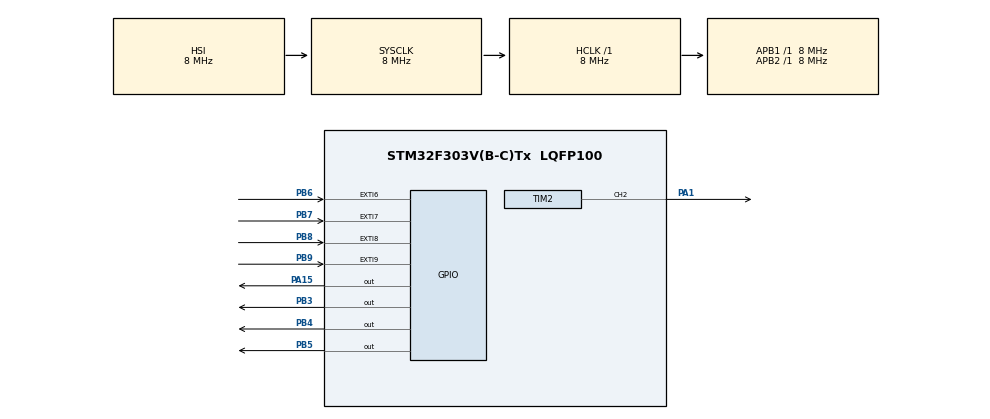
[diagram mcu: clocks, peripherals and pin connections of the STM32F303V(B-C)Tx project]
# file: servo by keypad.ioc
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Mcu.Family=STM32F3
Mcu.Name=STM32F303V(B-C)Tx
Mcu.Package=LQFP100
NVIC.EXTI9_5_IRQn=true\:0\:0\:false\:false\:true\:true\:true\:true
NVIC.PriorityGroup=NVIC_PRIORITYGROUP_4
PA1.Signal=S_TIM2_CH2
PA15.Signal=GPIO_Output
PB3.Signal=GPIO_Output
PB4.Signal=GPIO_Output
PB5.Signal=GPIO_Output
PB6.Signal=GPXTI6
PB7.Signal=GPXTI7
PB8.Signal=GPXTI8
PB9.Signal=GPXTI9
ProjectManager.HeapSize=0x200
ProjectManager.StackSize=0x400
ProjectManager.TargetToolchain=STM32CubeIDE
RCC.AHBFreq_Value=8000000
RCC.APB1Freq_Value=8000000
RCC.APB2Freq_Value=8000000
RCC.CortexFreq_Value=8000000
RCC.HSE_VALUE=8000000
RCC.HSI_VALUE=8000000
RCC.LSE_VALUE=32768
RCC.SYSCLKFreq_VALUE=8000000
SH.S_TIM2_CH2.0=TIM2_CH2,PWM Generation2 CH2
TIM2.Channel-PWM\ Generation2\ CH2=TIM_CHANNEL_2
TIM2.Period=9999
TIM2.Prescaler=15
VP_TIM2_VS_ClockSourceINT.Mode=Internal
board=custom

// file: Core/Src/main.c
/* USER CODE BEGIN Header */
/**
  ******************************************************************************
  * @file           : main.c
  * @brief          : Main program body
  ******************************************************************************
  * @attention
  *
  * Copyright (c) 2024 STMicroelectronics.
  * All rights reserved.
  *
  * This software is licensed under terms that can be found in the LICENSE file
  * in the root directory of this software component.
  * If no LICENSE file comes with this software, it is provided AS-IS.
  *
  ******************************************************************************
  */
/* USER CODE END Header */
#include "main.h"

TIM_HandleTypeDef htim2;

/* USER CODE BEGIN PV */

GPIO_InitTypeDef GPIO_InitStructPrivate = {0};
uint32_t previousMillis = 0;
uint32_t currentMillis = 0;
uint8_t keyPressed = 0;

/* USER CODE END PV */

void SystemClock_Config(void);
static void MX_GPIO_Init(void);
static void MX_TIM2_Init(void);

int main(void)
{

  /* MCU Configuration--------------------------------------------------------*/

  /* Reset of all peripherals, Initializes the Flash interface and the Systick. */
  HAL_Init();

  /* Configure the system clock */
  SystemClock_Config();

  /* Initialize all configured peripherals */
  MX_GPIO_Init();
  MX_TIM2_Init();
  /* USER CODE BEGIN 2 */

   HAL_GPIO_WritePin(GPIOA, GPIO_PIN_15, 1);
   HAL_GPIO_WritePin(GPIOB, GPIO_PIN_3, 1);
   HAL_GPIO_WritePin(GPIOB, GPIO_PIN_4, 1);
   HAL_GPIO_WritePin(GPIOB, GPIO_PIN_5, 1);
   HAL_TIM_PWM_Start(&htim2, TIM_CHANNEL_2);

  /* USER CODE END 2 */

  /* Infinite loop */
  while (1)
  {

  }
}

void SystemClock_Config(void)
{
  RCC_OscInitTypeDef RCC_OscInitStruct = {0};
  RCC_ClkInitTypeDef RCC_ClkInitStruct = {0};

  /** Initializes the RCC Oscillators according to the specified parameters
  * in the RCC_OscInitTypeDef structure.
  */
  RCC_OscInitStruct.OscillatorType = RCC_OSCILLATORTYPE_HSI;
  RCC_OscInitStruct.HSIState = RCC_HSI_ON;
  RCC_OscInitStruct.HSICalibrationValue = RCC_HSICALIBRATION_DEFAULT;
  RCC_OscInitStruct.PLL.PLLState = RCC_PLL_NONE;
  if (HAL_RCC_OscConfig(&RCC_OscInitStruct) != HAL_OK)
  {
    Error_Handler();
  }

  /** Initializes the CPU, AHB and APB buses clocks
  */
  RCC_ClkInitStruct.ClockType = RCC_CLOCKTYPE_HCLK|RCC_CLOCKTYPE_SYSCLK
                              |RCC_CLOCKTYPE_PCLK1|RCC_CLOCKTYPE_PCLK2;
  RCC_ClkInitStruct.SYSCLKSource = RCC_SYSCLKSOURCE_HSI;
  RCC_ClkInitStruct.AHBCLKDivider = RCC_SYSCLK_DIV1;
  RCC_ClkInitStruct.APB1CLKDivider = RCC_HCLK_DIV1;
  RCC_ClkInitStruct.APB2CLKDivider = RCC_HCLK_DIV1;

  if (HAL_RCC_ClockConfig(&RCC_ClkInitStruct, FLASH_LATENCY_0) != HAL_OK)
  {
    Error_Handler();
  }
}

static void MX_TIM2_Init(void)
{

  TIM_ClockConfigTypeDef sClockSourceConfig = {0};
  TIM_MasterConfigTypeDef sMasterConfig = {0};
  TIM_OC_InitTypeDef sConfigOC = {0};

  htim2.Instance = TIM2;
  htim2.Init.Prescaler = 15;
  htim2.Init.CounterMode = TIM_COUNTERMODE_UP;
  htim2.Init.Period = 9999;
  htim2.Init.ClockDivision = TIM_CLOCKDIVISION_DIV1;
  htim2.Init.AutoReloadPreload = TIM_AUTORELOAD_PRELOAD_DISABLE;
  if (HAL_TIM_Base_Init(&htim2) != HAL_OK)
  {
    Error_Handler();
  }
  sClockSourceConfig.ClockSource = TIM_CLOCKSOURCE_INTERNAL;
  if (HAL_TIM_ConfigClockSource(&htim2, &sClockSourceConfig) != HAL_OK)
  {
    Error_Handler();
  }
  if (HAL_TIM_PWM_Init(&htim2) != HAL_OK)
  {
    Error_Handler();
  }
  sMasterConfig.MasterOutputTrigger = TIM_TRGO_RESET;
  sMasterConfig.MasterSlaveMode = TIM_MASTERSLAVEMODE_DISABLE;
  if (HAL_TIMEx_MasterConfigSynchronization(&htim2, &sMasterConfig) != HAL_OK)
  {
    Error_Handler();
  }
  sConfigOC.OCMode = TIM_OCMODE_PWM1;
  sConfigOC.Pulse = 0;
  sConfigOC.OCPolarity = TIM_OCPOLARITY_HIGH;
  sConfigOC.OCFastMode = TIM_OCFAST_DISABLE;
  if (HAL_TIM_PWM_ConfigChannel(&htim2, &sConfigOC, TIM_CHANNEL_2) != HAL_OK)
  {
    Error_Handler();
  }
  HAL_TIM_MspPostInit(&htim2);

}

static void MX_GPIO_Init(void)
{
  GPIO_InitTypeDef GPIO_InitStruct = {0};

  /* GPIO Ports Clock Enable */
  __HAL_RCC_GPIOA_CLK_ENABLE();
  __HAL_RCC_GPIOB_CLK_ENABLE();

  /*Configure GPIO pin Output Level */
  HAL_GPIO_WritePin(GPIOA, GPIO_PIN_15, GPIO_PIN_RESET);

  /*Configure GPIO pin Output Level */
  HAL_GPIO_WritePin(GPIOB, GPIO_PIN_3|GPIO_PIN_4|GPIO_PIN_5, GPIO_PIN_RESET);

  /*Configure GPIO pin : PA15 */
  GPIO_InitStruct.Pin = GPIO_PIN_15;
  GPIO_InitStruct.Mode = GPIO_MODE_OUTPUT_PP;
  GPIO_InitStruct.Pull = GPIO_NOPULL;
  GPIO_InitStruct.Speed = GPIO_SPEED_FREQ_LOW;
  HAL_GPIO_Init(GPIOA, &GPIO_InitStruct);

  /*Configure GPIO pins : PB3 PB4 PB5 */
  GPIO_InitStruct.Pin = GPIO_PIN_3|GPIO_PIN_4|GPIO_PIN_5;
  GPIO_InitStruct.Mode = GPIO_MODE_OUTPUT_PP;
  GPIO_InitStruct.Pull = GPIO_NOPULL;
  GPIO_InitStruct.Speed = GPIO_SPEED_FREQ_LOW;
  HAL_GPIO_Init(GPIOB, &GPIO_InitStruct);

  /*Configure GPIO pins : PB6 PB7 PB8 PB9 */
  GPIO_InitStruct.Pin = GPIO_PIN_6|GPIO_PIN_7|GPIO_PIN_8|GPIO_PIN_9;
  GPIO_InitStruct.Mode = GPIO_MODE_IT_RISING;
  GPIO_InitStruct.Pull = GPIO_NOPULL;
  HAL_GPIO_Init(GPIOB, &GPIO_InitStruct);

  /* EXTI interrupt init*/
  HAL_NVIC_SetPriority(EXTI9_5_IRQn, 0, 0);
  HAL_NVIC_EnableIRQ(EXTI9_5_IRQn);

}

/* USER CODE BEGIN 4 */

void HAL_GPIO_EXTI_Callback(uint16_t GPIO_Pin)
{
  currentMillis = HAL_GetTick();
  if (currentMillis - previousMillis > 10) {
    /*Configure GPIO pins : PB6 PB7 PB8 PB9 to GPIO_INPUT*/
    GPIO_InitStructPrivate.Pin = GPIO_PIN_6|GPIO_PIN_7|GPIO_PIN_8|GPIO_PIN_9;
    GPIO_InitStructPrivate.Mode = GPIO_MODE_INPUT;
    GPIO_InitStructPrivate.Pull = GPIO_NOPULL;
    GPIO_InitStructPrivate.Speed = GPIO_SPEED_FREQ_LOW;
    HAL_GPIO_Init(GPIOB, &GPIO_InitStructPrivate);

    HAL_GPIO_WritePin(GPIOA, GPIO_PIN_15, 1);
    HAL_GPIO_WritePin(GPIOB, GPIO_PIN_3, 0);
    HAL_GPIO_WritePin(GPIOB, GPIO_PIN_4, 0);
    HAL_GPIO_WritePin(GPIOB, GPIO_PIN_5, 0);
    if(GPIO_Pin == GPIO_PIN_6 && HAL_GPIO_ReadPin(GPIOB, GPIO_PIN_6))
    {
      keyPressed = 68; //ASCII value of D
    }
    else if(GPIO_Pin == GPIO_PIN_7 && HAL_GPIO_ReadPin(GPIOB, GPIO_PIN_7))
    {
      keyPressed = 67; //ASCII value of C
    }
    else if(GPIO_Pin == GPIO_PIN_8 && HAL_GPIO_ReadPin(GPIOB, GPIO_PIN_8))
    {
      keyPressed = 66; //ASCII value of B
    }
    else if(GPIO_Pin == GPIO_PIN_9 && HAL_GPIO_ReadPin(GPIOB, GPIO_PIN_9))
    {
      keyPressed = 65; //ASCII value of A
    }

    HAL_GPIO_WritePin(GPIOA, GPIO_PIN_15, 0);
    HAL_GPIO_WritePin(GPIOB, GPIO_PIN_3, 1);
    HAL_GPIO_WritePin(GPIOB, GPIO_PIN_4, 0);
    HAL_GPIO_WritePin(GPIOB, GPIO_PIN_5, 0);
    if(GPIO_Pin == GPIO_PIN_6 && HAL_GPIO_ReadPin(GPIOB, GPIO_PIN_6))
    {
      keyPressed = 35; //ASCII value of #
    }
    else if(GPIO_Pin == GPIO_PIN_7 && HAL_GPIO_ReadPin(GPIOB, GPIO_PIN_7))
    {
      keyPressed = 57; //ASCII value of 9
      __HAL_TIM_SET_COMPARE(&htim2,TIM_CHANNEL_2, 1249);
    }
    else if(GPIO_Pin == GPIO_PIN_8 && HAL_GPIO_ReadPin(GPIOB, GPIO_PIN_8))
    {
      keyPressed = 54; //ASCII value of 6
      __HAL_TIM_SET_COMPARE(&htim2,TIM_CHANNEL_2, 916);
    }
    else if(GPIO_Pin == GPIO_PIN_9 && HAL_GPIO_ReadPin(GPIOB, GPIO_PIN_9))
    {
      keyPressed = 51; //ASCII value of 3
      __HAL_TIM_SET_COMPARE(&htim2,TIM_CHANNEL_2, 583);
    }

    HAL_GPIO_WritePin(GPIOA, GPIO_PIN_15, 0);
    HAL_GPIO_WritePin(GPIOB, GPIO_PIN_3, 0);
    HAL_GPIO_WritePin(GPIOB, GPIO_PIN_4, 1);
    HAL_GPIO_WritePin(GPIOB, GPIO_PIN_5, 0);
    if(GPIO_Pin == GPIO_PIN_6 && HAL_GPIO_ReadPin(GPIOB, GPIO_PIN_6))
    {
      keyPressed = 48; //ASCII value of 0
      __HAL_TIM_SET_COMPARE(&htim2,TIM_CHANNEL_2, 250);
    }
    else if(GPIO_Pin == GPIO_PIN_7 && HAL_GPIO_ReadPin(GPIOB, GPIO_PIN_7))
    {
      keyPressed = 56; //ASCII value of 8
      __HAL_TIM_SET_COMPARE(&htim2,TIM_CHANNEL_2, 1138);
    }
    else if(GPIO_Pin == GPIO_PIN_8 && HAL_GPIO_ReadPin(GPIOB, GPIO_PIN_8))
    {
      keyPressed = 53; //ASCII value of 5
      __HAL_TIM_SET_COMPARE(&htim2,TIM_CHANNEL_2, 805);
    }
    else if(GPIO_Pin == GPIO_PIN_9 && HAL_GPIO_ReadPin(GPIOB, GPIO_PIN_9))
    {
      keyPressed = 50; //ASCII value of 2
      __HAL_TIM_SET_COMPARE(&htim2,TIM_CHANNEL_2, 472);
    }

    HAL_GPIO_WritePin(GPIOA, GPIO_PIN_15, 0);
    HAL_GPIO_WritePin(GPIOB, GPIO_PIN_3, 0);
    HAL_GPIO_WritePin(GPIOB, GPIO_PIN_4, 0);
    HAL_GPIO_WritePin(GPIOB, GPIO_PIN_5, 1);
    if(GPIO_Pin == GPIO_PIN_6 && HAL_GPIO_ReadPin(GPIOB, GPIO_PIN_6))
    {
      keyPressed = 42; //ASCII value of *
    }
    else if(GPIO_Pin == GPIO_PIN_7 && HAL_GPIO_ReadPin(GPIOB, GPIO_PIN_7))
    {
      keyPressed = 55; //ASCII value of 7
      __HAL_TIM_SET_COMPARE(&htim2,TIM_CHANNEL_2, 1027);
    }
    else if(GPIO_Pin == GPIO_PIN_8 && HAL_GPIO_ReadPin(GPIOB, GPIO_PIN_8))
    {
      keyPressed = 52; //ASCII value of 4
      __HAL_TIM_SET_COMPARE(&htim2,TIM_CHANNEL_2, 694);
    }
    else if(GPIO_Pin == GPIO_PIN_9 && HAL_GPIO_ReadPin(GPIOB, GPIO_PIN_9))
    {
      keyPressed = 49; //ASCII value of 1
      __HAL_TIM_SET_COMPARE(&htim2,TIM_CHANNEL_2, 361);
    }

    HAL_GPIO_WritePin(GPIOA, GPIO_PIN_15, 1);
    HAL_GPIO_WritePin(GPIOB, GPIO_PIN_3, 1);
    HAL_GPIO_WritePin(GPIOB, GPIO_PIN_4, 1);
    HAL_GPIO_WritePin(GPIOB, GPIO_PIN_5, 1);
    /*Configure GPIO pins : PB6 PB7 PB8 PB9 back to EXTI*/
    GPIO_InitStructPrivate.Mode = GPIO_MODE_IT_RISING;
    GPIO_InitStructPrivate.Pull = GPIO_PULLDOWN;
    HAL_GPIO_Init(GPIOB, &GPIO_InitStructPrivate);
    previousMillis = currentMillis;
  }
}
/* USER CODE END 4 */

void Error_Handler(void)
{
  __disable_irq();
  while (1)
  {
  }
}
